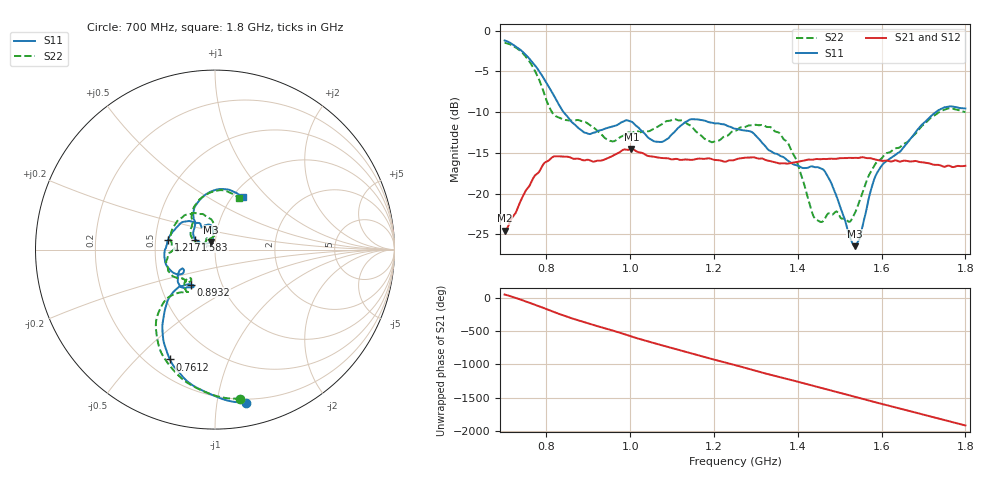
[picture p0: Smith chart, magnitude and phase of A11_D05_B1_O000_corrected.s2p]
! Created with skrf 1.9.0 (http://scikit-rf.org).
# Hz S RI R 50.0
!freq ReS11 ImS11 ReS21 ImS21 ReS12 ImS12 ReS22 ImS22
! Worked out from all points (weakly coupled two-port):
!   1601 points, 700 MHz to 1.8 GHz, reference 50 ohm
!   highest |S21| = -14.53 dB at 1.002 GHz (marker M1); lowest = -24.6 dB at 700 MHz (marker M2)
!   lowest |S11| = -26.5 dB at 1.535 GHz (marker M3), VSWR 1.10, Z = 47.6 + j4 ohm
!   |S11| at or under -10 dB: 840.7 MHz to 1.729 GHz (888.8 MHz wide, 69.2 % of centre)
!   |S22| runs from -23.5 to -1.5 dB; largest |S21 - S12| = 0.0035
!   S11 on the Smith chart (normalised r, x): 700 MHz: 0.17, -1.21; 761.2 MHz: 0.29, -0.63; 893.2 MHz: 0.72, -0.30; 1.217 GHz: 0.58, +0.07; 1.583 GHz: 0.80, +0.09; 1.8 GHz: 1.12, +0.74
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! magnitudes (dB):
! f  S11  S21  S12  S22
! 700 MHz  -1.2  -24.6  -24.3  -1.5
! 761.2 MHz  -3.6  -18.9  -18.8  -3.9
! 816.9 MHz  -7.9  -15.5  -15.6  -10.3
! 883.6 MHz  -12.2  -15.9  -15.8  -11.1
! 893.2 MHz  -12.5  -15.9  -15.9  -11.2
! 953.7 MHz  -11.8  -15.5  -15.5  -13.6
! 1.002 GHz  -11.2  -14.5  -14.6  -12.6
! 1.067 GHz  -13.7  -15.6  -15.5  -11.7
! 1.144 GHz  -10.9  -15.9  -15.9  -11.7
! 1.217 GHz  -11.5  -16.0  -16.0  -13.3
! 1.25 GHz  -12.0  -15.9  -15.8  -12.3
! 1.357 GHz  -15.3  -16.3  -16.2  -12.6
! 1.396 GHz  -16.5  -16.1  -16.1  -15.8
! 1.434 GHz  -16.7  -15.9  -15.8  -22.3
! 1.454 GHz  -16.9  -15.8  -15.8  -23.5
! 1.473 GHz  -18.1  -15.7  -15.7  -22.4
! 1.535 GHz  -26.5  -15.6  -15.6  -22.5
! 1.548 GHz  -25.3  -15.6  -15.6  -20.8
! 1.583 GHz  -18.2  -15.8  -15.8  -16.6
! 1.617 GHz  -15.8  -16.0  -16.0  -15.0
! 1.733 GHz  -9.9  -16.5  -16.5  -10.1
! 1.8 GHz  -9.6  -16.6  -16.6  -10.0
